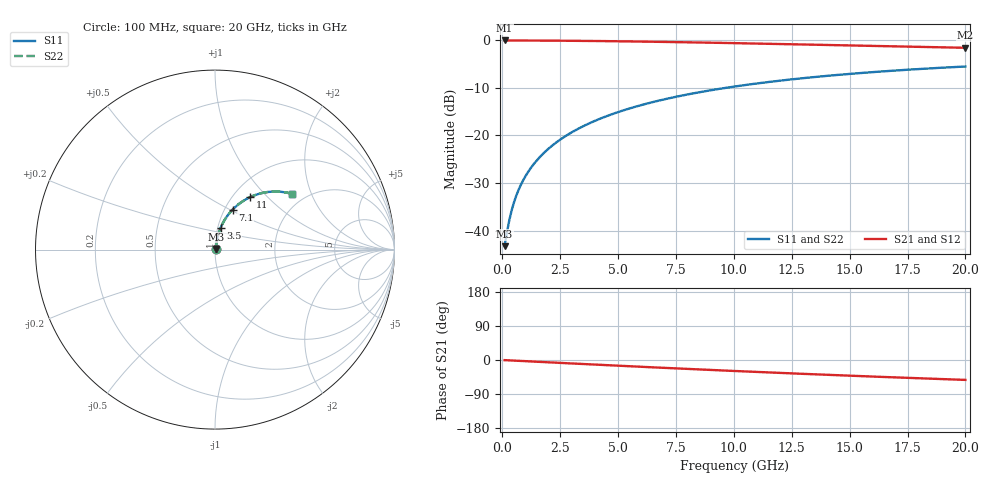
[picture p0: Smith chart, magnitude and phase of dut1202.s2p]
! Touchstone file exported from HFSS 2026.1.0
!  File:  C:/ffzhzh/LocalFiles/Ansys_Project_Files/temp_train_BSMRDL_1202_1783176484_43440.aedt
!  Generated:  10:49:17 PM Jul  4, 2026
!  Design:  BSMRDL
!  Project:  temp_train_BSMRDL_1202_1783176484_43440
! Variables:
!  h_bsmrdl = 3.91um
!  h_ox = 20um
!  h_rdl = 5um
!  h_sub = 80um
!  h_tmrdl = 5um
!  h_tsv = 80um
!  h_via = 3um
!  l_bsmrdl = 765.6um
!  l_sub = 1165.6um
!  l_tmrdl = 200um
!  m_sub = 200um
!  pitch = 41.45um
!  r_tsv = 6um
!  s_tmrdl = 10um
!  w_bsmrdl = 12.12um
!  w_sub = 500um
!  w_tmrdl = 12um
!  x_tsv_center1 = 206um
!  x_tsv_center2 = 983.72um
!  x_tsv_center3 = 1195.72um
!  x_tsv_center4 = 1973.44um
!  x_tsv_center5 = 2185.44um
!  x_tsv_center6 = 2963.16um
# GHz S MA R 50.000000
! Terminal data exported
! Port[1] = BSM_RDL1_1_T1
! Port[2] = BSM_RDL1_1_T2
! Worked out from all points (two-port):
!   200 points, 100 MHz to 20 GHz, reference 50 ohm
!   highest |S21| = -0.05 dB at 100 MHz (marker M1); lowest = -1.6 dB at 20 GHz (marker M2)
!   |S21| within 3 dB of the highest: start of sweep to end of sweep
!   lowest |S11| = -43.3 dB at 100 MHz (marker M3), VSWR 1.01, Z = 50.6 + j0.382 ohm
!   |S11| at or under -10 dB: start of sweep to 9.656 GHz
!   |S22| runs from -43.3 to -5.5 dB; largest |S21 - S12| = 3.4e-15
!   S11 on the Smith chart (normalised r, x): 100 MHz: 1.01, +0.01; 3.5 GHz: 1.03, +0.25; 7.1 GHz: 1.09, +0.51; 11 GHz: 1.20, +0.80; 20 GHz: 1.71, +1.47
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0.1  0.006874 33.3  0.9943 -0.3  0.9943 -0.3  0.006874 33.3
! Gamma 0 0 0 0
! Port Impedance 50 0 50 0
0.2  0.009552 51.9  0.9942 -0.6  0.9942 -0.6  0.009552 51.9
0.3  0.01278 61.5  0.994 -0.9  0.994 -0.9  0.01278 61.5
0.4  0.01619 66.8  0.9938 -1.3  0.9938 -1.3  0.01619 66.8
0.5  0.01967 70.2  0.9937 -1.6  0.9937 -1.6  0.01967 70.2
0.6  0.02318 72.4  0.9935 -1.9  0.9935 -1.9  0.02318 72.4
0.8  0.03023 75.1  0.9931 -2.5  0.9931 -2.5  0.03023 75.1
1.1  0.04084 77.2  0.9926 -3.4  0.9926 -3.4  0.04084 77.2
1.5  0.05503 78.1  0.9917 -4.6  0.9917 -4.6  0.05503 78.1
2.1  0.0763 78.1  0.9899 -6.4  0.9899 -6.4  0.0763 78.1
2.7  0.09743 77.3  0.9877 -8.2  0.9877 -8.2  0.09743 77.3
3.5  0.1252 75.6  0.984 -10.6  0.984 -10.6  0.1252 75.6
4.2  0.1491 73.9  0.9801 -12.7  0.9801 -12.7  0.1491 73.9
5  0.1759 71.9  0.975 -15.0  0.975 -15.0  0.1759 71.9
6.8  0.2334 67.1  0.9615 -20.2  0.9615 -20.2  0.2334 67.1
7.1  0.2425 66.3  0.959 -21.0  0.959 -21.0  0.2425 66.3
8.5  0.284 62.6  0.9466 -24.9  0.9466 -24.9  0.284 62.6
10.1  0.3282 58.5  0.9313 -29.2  0.9313 -29.2  0.3282 58.5
11  0.3516 56.2  0.9224 -31.5  0.9224 -31.5  0.3516 56.2
13.4  0.4088 50.4  0.8978 -37.6  0.8978 -37.6  0.4088 50.4
16.7  0.4757 42.8  0.8642 -45.3  0.8642 -45.3  0.4757 42.9
20  0.5296 35.8  0.8325 -52.5  0.8325 -52.5  0.5297 35.9
